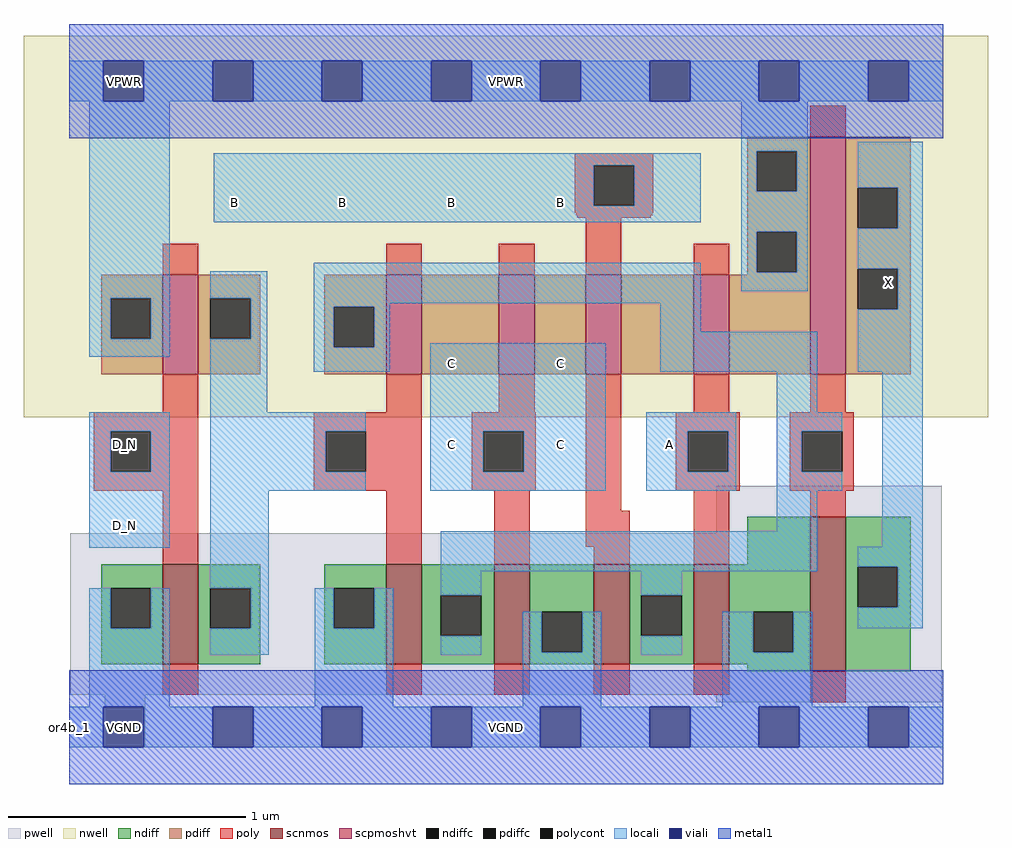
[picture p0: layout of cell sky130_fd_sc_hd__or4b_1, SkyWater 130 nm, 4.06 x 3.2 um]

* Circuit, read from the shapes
.subckt sky130_fd_sc_hd__or4b_1 A B C D_N VGND VNB VPB VPWR X
XM1 n1 D_N VGND VNB sky130_fd_pr__nfet_01v8 w=0.42 l=0.15
XM2 n2 n1 VGND VNB sky130_fd_pr__nfet_01v8 w=0.42 l=0.15
XM3 VGND C n2 VNB sky130_fd_pr__nfet_01v8 w=0.42 l=0.15
XM4 n2 B VGND VNB sky130_fd_pr__nfet_01v8 w=0.42 l=0.15
XM5 VGND A n2 VNB sky130_fd_pr__nfet_01v8 w=0.42 l=0.15
XM6 X n2 VGND VNB sky130_fd_pr__nfet_01v8 w=0.65 l=0.15
XM7 n1 D_N VPWR VPB sky130_fd_pr__pfet_01v8_hvt w=0.42 l=0.15
XM8 n3 n1 n2 VPB sky130_fd_pr__pfet_01v8_hvt w=0.42 l=0.15
XM9 n4 C n3 VPB sky130_fd_pr__pfet_01v8_hvt w=0.42 l=0.15
XM10 n5 B n4 VPB sky130_fd_pr__pfet_01v8_hvt w=0.42 l=0.15
XM11 VPWR A n5 VPB sky130_fd_pr__pfet_01v8_hvt w=0.42 l=0.15
XM12 X n2 VPWR VPB sky130_fd_pr__pfet_01v8_hvt w=1 l=0.15
.ends

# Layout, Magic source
magic
tech sky130B
magscale 1 2
<< nwell >>
rect -38 261 774 582
<< pwell >>
rect 545 163 735 203
rect 1 27 735 163
rect 30 -17 64 27
rect 545 21 735 27
<< scnmos >>
rect 79 53 109 137
rect 267 53 297 137
rect 358 53 388 137
rect 442 53 472 137
rect 526 53 556 137
rect 624 47 654 177
<< scpmoshvt >>
rect 79 297 109 381
rect 267 297 297 381
rect 362 297 392 381
rect 435 297 465 381
rect 526 297 556 381
rect 624 297 654 497
<< ndiff >>
rect 571 137 624 177
rect 27 117 79 137
rect 27 83 35 117
rect 69 83 79 117
rect 27 53 79 83
rect 109 117 161 137
rect 109 83 119 117
rect 153 83 161 117
rect 109 53 161 83
rect 215 117 267 137
rect 215 83 223 117
rect 257 83 267 117
rect 215 53 267 83
rect 297 111 358 137
rect 297 77 313 111
rect 347 77 358 111
rect 297 53 358 77
rect 388 97 442 137
rect 388 63 398 97
rect 432 63 442 97
rect 388 53 442 63
rect 472 111 526 137
rect 472 77 482 111
rect 516 77 526 111
rect 472 53 526 77
rect 556 97 624 137
rect 556 63 576 97
rect 610 63 624 97
rect 556 53 624 63
rect 571 47 624 53
rect 654 135 709 177
rect 654 101 664 135
rect 698 101 709 135
rect 654 47 709 101
<< pdiff >>
rect 571 485 624 497
rect 571 451 579 485
rect 613 451 624 485
rect 571 417 624 451
rect 571 383 579 417
rect 613 383 624 417
rect 571 381 624 383
rect 27 361 79 381
rect 27 327 35 361
rect 69 327 79 361
rect 27 297 79 327
rect 109 361 161 381
rect 109 327 119 361
rect 153 327 161 361
rect 109 297 161 327
rect 215 354 267 381
rect 215 320 223 354
rect 257 320 267 354
rect 215 297 267 320
rect 297 297 362 381
rect 392 297 435 381
rect 465 297 526 381
rect 556 297 624 381
rect 654 454 709 497
rect 654 420 664 454
rect 698 420 709 454
rect 654 386 709 420
rect 654 352 664 386
rect 698 352 709 386
rect 654 297 709 352
<< ndiffc >>
rect 35 83 69 117
rect 119 83 153 117
rect 223 83 257 117
rect 313 77 347 111
rect 398 63 432 97
rect 482 77 516 111
rect 576 63 610 97
rect 664 101 698 135
<< pdiffc >>
rect 579 451 613 485
rect 579 383 613 417
rect 35 327 69 361
rect 119 327 153 361
rect 223 320 257 354
rect 664 420 698 454
rect 664 352 698 386
<< poly >>
rect 624 497 654 523
rect 426 473 492 483
rect 426 439 442 473
rect 476 439 492 473
rect 426 433 492 439
rect 427 431 491 433
rect 428 429 490 431
rect 79 381 109 407
rect 267 381 297 407
rect 362 381 392 407
rect 435 381 465 429
rect 526 381 556 407
rect 79 265 109 297
rect 267 265 297 297
rect 362 265 392 297
rect 21 249 109 265
rect 21 215 35 249
rect 69 215 109 249
rect 21 199 109 215
rect 206 249 297 265
rect 206 215 216 249
rect 250 215 297 249
rect 206 199 297 215
rect 339 249 393 265
rect 339 215 349 249
rect 383 215 393 249
rect 339 199 393 215
rect 79 137 109 199
rect 267 137 297 199
rect 358 137 388 199
rect 435 182 465 297
rect 526 265 556 297
rect 624 265 654 297
rect 511 249 565 265
rect 511 215 521 249
rect 555 215 565 249
rect 511 199 565 215
rect 607 249 661 265
rect 607 215 617 249
rect 651 215 661 249
rect 607 199 661 215
rect 435 152 472 182
rect 442 137 472 152
rect 526 137 556 199
rect 624 177 654 199
rect 79 27 109 53
rect 267 27 297 53
rect 358 27 388 53
rect 442 27 472 53
rect 526 27 556 53
rect 624 21 654 47
<< polycont >>
rect 442 439 476 473
rect 35 215 69 249
rect 216 215 250 249
rect 349 215 383 249
rect 521 215 555 249
rect 617 215 651 249
<< locali >>
rect 0 527 29 561
rect 63 527 121 561
rect 155 527 213 561
rect 247 527 305 561
rect 339 527 397 561
rect 431 527 489 561
rect 523 527 581 561
rect 615 527 673 561
rect 707 527 736 561
rect 17 361 85 527
rect 566 485 622 527
rect 122 473 532 483
rect 122 439 442 473
rect 476 439 532 473
rect 122 425 532 439
rect 566 451 579 485
rect 613 451 622 485
rect 566 417 622 451
rect 17 327 35 361
rect 69 327 85 361
rect 17 312 85 327
rect 119 361 167 384
rect 153 327 167 361
rect 119 265 167 327
rect 206 357 532 391
rect 566 383 579 417
rect 613 383 622 417
rect 566 367 622 383
rect 664 454 719 493
rect 698 420 719 454
rect 664 386 719 420
rect 206 354 270 357
rect 206 320 223 354
rect 257 320 270 354
rect 498 333 532 357
rect 698 352 719 386
rect 206 299 270 320
rect 17 249 85 265
rect 17 215 35 249
rect 69 215 85 249
rect 17 151 85 215
rect 119 249 250 265
rect 119 215 216 249
rect 119 199 250 215
rect 304 249 452 323
rect 498 299 630 333
rect 664 299 719 352
rect 596 265 630 299
rect 304 215 349 249
rect 383 215 452 249
rect 304 199 452 215
rect 486 249 562 265
rect 486 215 521 249
rect 555 215 562 249
rect 486 199 562 215
rect 596 249 651 265
rect 596 215 617 249
rect 596 199 651 215
rect 119 117 168 199
rect 596 165 630 199
rect 313 131 630 165
rect 685 152 719 299
rect 664 135 719 152
rect 17 83 35 117
rect 69 83 85 117
rect 17 17 85 83
rect 153 83 168 117
rect 119 61 168 83
rect 207 83 223 117
rect 257 83 273 117
rect 207 17 273 83
rect 313 111 347 131
rect 482 111 516 131
rect 313 61 347 77
rect 382 63 398 97
rect 432 63 448 97
rect 382 17 448 63
rect 698 101 719 135
rect 482 61 516 77
rect 550 63 576 97
rect 610 63 626 97
rect 664 83 719 101
rect 550 17 626 63
rect 0 -17 29 17
rect 63 -17 121 17
rect 155 -17 213 17
rect 247 -17 305 17
rect 339 -17 397 17
rect 431 -17 489 17
rect 523 -17 581 17
rect 615 -17 673 17
rect 707 -17 736 17
<< viali >>
rect 29 527 63 561
rect 121 527 155 561
rect 213 527 247 561
rect 305 527 339 561
rect 397 527 431 561
rect 489 527 523 561
rect 581 527 615 561
rect 673 527 707 561
rect 29 -17 63 17
rect 121 -17 155 17
rect 213 -17 247 17
rect 305 -17 339 17
rect 397 -17 431 17
rect 489 -17 523 17
rect 581 -17 615 17
rect 673 -17 707 17
<< metal1 >>
rect 0 561 736 592
rect 0 527 29 561
rect 63 527 121 561
rect 155 527 213 561
rect 247 527 305 561
rect 339 527 397 561
rect 431 527 489 561
rect 523 527 581 561
rect 615 527 673 561
rect 707 527 736 561
rect 0 496 736 527
rect 0 17 736 48
rect 0 -17 29 17
rect 63 -17 121 17
rect 155 -17 213 17
rect 247 -17 305 17
rect 339 -17 397 17
rect 431 -17 489 17
rect 523 -17 581 17
rect 615 -17 673 17
rect 707 -17 736 17
rect 0 -48 736 -17
<< labels >>
flabel locali s 122 425 156 459 0 FreeSans 400 0 0 0 B
port 2 nsew signal input
flabel locali s 30 153 64 187 0 FreeSans 400 0 0 0 D_N
port 4 nsew signal input
flabel locali s 305 425 339 459 0 FreeSans 400 0 0 0 B
port 2 nsew signal input
flabel locali s 213 425 247 459 0 FreeSans 400 0 0 0 B
port 2 nsew signal input
flabel locali s 489 221 523 255 0 FreeSans 400 0 0 0 A
port 1 nsew signal input
flabel locali s 673 357 707 391 0 FreeSans 200 0 0 0 X
port 9 nsew signal output
flabel locali s 397 221 431 255 0 FreeSans 400 0 0 0 C
port 3 nsew signal input
flabel locali s 305 221 339 255 0 FreeSans 400 0 0 0 C
port 3 nsew signal input
flabel locali s 397 425 431 459 0 FreeSans 400 0 0 0 B
port 2 nsew signal input
flabel locali s 397 289 431 323 0 FreeSans 400 0 0 0 C
port 3 nsew signal input
flabel locali s 30 221 64 255 0 FreeSans 400 0 0 0 D_N
port 4 nsew signal input
flabel locali s 305 289 339 323 0 FreeSans 400 0 0 0 C
port 3 nsew signal input
flabel metal1 s 30 527 64 561 0 FreeSans 200 0 0 0 VPWR
port 8 nsew power bidirectional abutment
flabel metal1 s 30 -17 64 17 0 FreeSans 200 0 0 0 VGND
port 5 nsew ground bidirectional abutment
flabel nwell s 30 527 64 561 0 FreeSans 200 0 0 0 VPB
port 7 nsew power bidirectional
flabel pwell s 30 -17 64 17 0 FreeSans 200 0 0 0 VNB
port 6 nsew ground bidirectional
rlabel comment s 0 0 0 0 4 or4b_1
rlabel metal1 s 0 -48 736 48 1 VGND
port 5 nsew ground bidirectional abutment
rlabel metal1 s 0 496 736 592 1 VPWR
port 8 nsew power bidirectional abutment
<< properties >>
string FIXED_BBOX 0 0 736 544
string GDS_END 1075482
string GDS_FILE $PDKPATH/libs.ref/sky130_fd_sc_hd/gds/sky130_fd_sc_hd.gds
string GDS_START 1068258
string LEFclass CORE
string LEFsite unithd
string LEFsymmetry X Y R90
string path 0.000 0.000 3.680 0.000 
<< end >>
